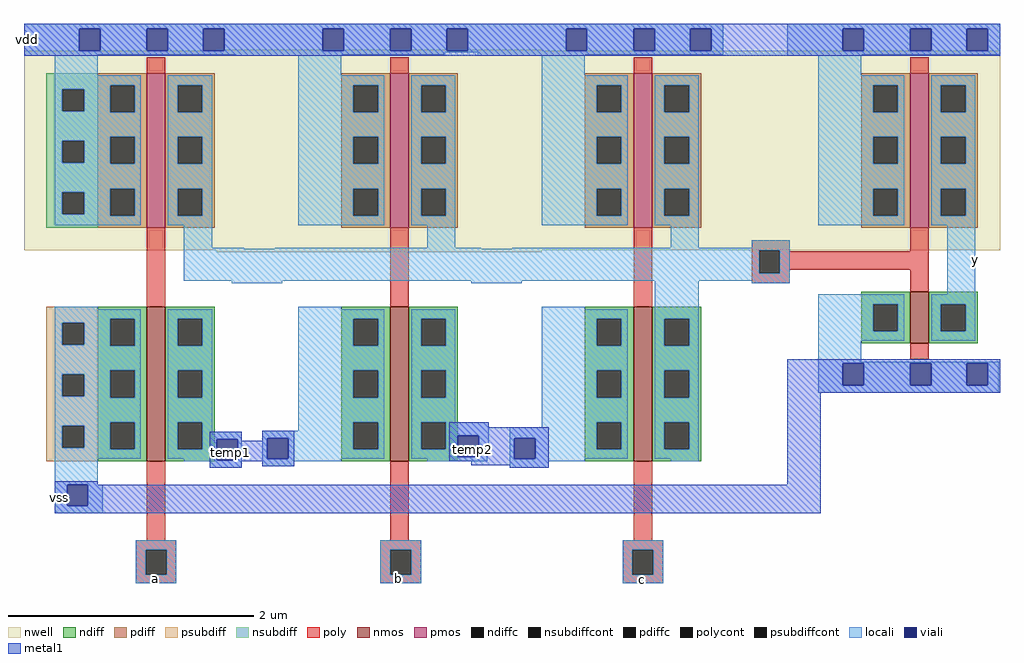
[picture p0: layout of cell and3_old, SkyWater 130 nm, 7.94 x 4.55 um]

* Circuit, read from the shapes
.subckt and3_old a b c y vdd vss temp1 temp2
XM1 temp1 a vss vss sky130_fd_pr__nfet_01v8 w=1.26 l=0.15
XM2 temp2 b temp1 vss sky130_fd_pr__nfet_01v8 w=1.26 l=0.15
XM3 n1 c temp2 vss sky130_fd_pr__nfet_01v8 w=1.26 l=0.15
XM4 y n1 vss vss sky130_fd_pr__nfet_01v8 w=0.42 l=0.15
XM5 n1 a vdd vdd sky130_fd_pr__pfet_01v8 w=1.26 l=0.15
XM6 n1 b vdd vdd sky130_fd_pr__pfet_01v8 w=1.26 l=0.15
XM7 n1 c vdd vdd sky130_fd_pr__pfet_01v8 w=1.26 l=0.15
XM8 y n1 vdd vdd sky130_fd_pr__pfet_01v8 w=1.26 l=0.15
.ends

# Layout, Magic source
magic
tech sky130A
<< nwell >>
rect -564 238 -300 239
rect -721 76 73 238
rect -564 74 -300 76
<< nmos >>
rect -621 -96 -606 30
rect -423 -96 -408 30
rect -225 -96 -210 30
rect 0 0 15 42
<< pmos >>
rect -621 94 -606 220
rect -423 94 -408 220
rect -225 94 -210 220
rect 0 94 15 220
<< ndiff >>
rect -40 32 0 42
rect -661 20 -621 30
rect -661 -2 -651 20
rect -631 -2 -621 20
rect -661 -22 -621 -2
rect -661 -44 -651 -22
rect -631 -44 -621 -22
rect -661 -64 -621 -44
rect -661 -86 -651 -64
rect -631 -86 -621 -64
rect -661 -96 -621 -86
rect -606 20 -566 30
rect -606 -2 -596 20
rect -576 -2 -566 20
rect -606 -22 -566 -2
rect -606 -44 -596 -22
rect -576 -44 -566 -22
rect -606 -64 -566 -44
rect -606 -86 -596 -64
rect -576 -86 -566 -64
rect -606 -96 -566 -86
rect -463 20 -423 30
rect -463 -2 -453 20
rect -433 -2 -423 20
rect -463 -22 -423 -2
rect -463 -44 -453 -22
rect -433 -44 -423 -22
rect -463 -64 -423 -44
rect -463 -86 -453 -64
rect -433 -86 -423 -64
rect -463 -96 -423 -86
rect -408 20 -368 30
rect -408 -2 -398 20
rect -378 -2 -368 20
rect -408 -22 -368 -2
rect -408 -44 -398 -22
rect -378 -44 -368 -22
rect -408 -64 -368 -44
rect -408 -86 -398 -64
rect -378 -86 -368 -64
rect -408 -96 -368 -86
rect -265 20 -225 30
rect -265 -2 -255 20
rect -235 -2 -225 20
rect -265 -22 -225 -2
rect -265 -44 -255 -22
rect -235 -44 -225 -22
rect -265 -64 -225 -44
rect -265 -86 -255 -64
rect -235 -86 -225 -64
rect -265 -96 -225 -86
rect -210 20 -170 30
rect -210 -2 -200 20
rect -180 -2 -170 20
rect -40 10 -30 32
rect -10 10 0 32
rect -40 0 0 10
rect 15 32 55 42
rect 15 10 25 32
rect 45 10 55 32
rect 15 0 55 10
rect -210 -22 -170 -2
rect -210 -44 -200 -22
rect -180 -44 -170 -22
rect -210 -64 -170 -44
rect -210 -86 -200 -64
rect -180 -86 -170 -64
rect -210 -96 -170 -86
<< pdiff >>
rect -661 210 -621 220
rect -661 188 -651 210
rect -631 188 -621 210
rect -661 168 -621 188
rect -661 146 -651 168
rect -631 146 -621 168
rect -661 126 -621 146
rect -661 104 -651 126
rect -631 104 -621 126
rect -661 94 -621 104
rect -606 210 -566 220
rect -606 188 -596 210
rect -576 188 -566 210
rect -606 168 -566 188
rect -606 146 -596 168
rect -576 146 -566 168
rect -606 126 -566 146
rect -606 104 -596 126
rect -576 104 -566 126
rect -606 94 -566 104
rect -463 210 -423 220
rect -463 188 -453 210
rect -433 188 -423 210
rect -463 168 -423 188
rect -463 146 -453 168
rect -433 146 -423 168
rect -463 126 -423 146
rect -463 104 -453 126
rect -433 104 -423 126
rect -463 94 -423 104
rect -408 210 -368 220
rect -408 188 -398 210
rect -378 188 -368 210
rect -408 168 -368 188
rect -408 146 -398 168
rect -378 146 -368 168
rect -408 126 -368 146
rect -408 104 -398 126
rect -378 104 -368 126
rect -408 94 -368 104
rect -265 210 -225 220
rect -265 188 -255 210
rect -235 188 -225 210
rect -265 168 -225 188
rect -265 146 -255 168
rect -235 146 -225 168
rect -265 126 -225 146
rect -265 104 -255 126
rect -235 104 -225 126
rect -265 94 -225 104
rect -210 210 -170 220
rect -210 188 -200 210
rect -180 188 -170 210
rect -210 168 -170 188
rect -210 146 -200 168
rect -180 146 -170 168
rect -210 126 -170 146
rect -210 104 -200 126
rect -180 104 -170 126
rect -210 94 -170 104
rect -40 210 0 220
rect -40 188 -30 210
rect -10 188 0 210
rect -40 168 0 188
rect -40 146 -30 168
rect -10 146 0 168
rect -40 126 0 146
rect -40 104 -30 126
rect -10 104 0 126
rect -40 94 0 104
rect 15 210 55 220
rect 15 188 25 210
rect 45 188 55 210
rect 15 168 55 188
rect 15 146 25 168
rect 45 146 55 168
rect 15 126 55 146
rect 15 104 25 126
rect 45 104 55 126
rect 15 94 55 104
<< ndiffc >>
rect -651 -2 -631 20
rect -651 -44 -631 -22
rect -651 -86 -631 -64
rect -596 -2 -576 20
rect -596 -44 -576 -22
rect -596 -86 -576 -64
rect -453 -2 -433 20
rect -453 -44 -433 -22
rect -453 -86 -433 -64
rect -398 -2 -378 20
rect -398 -44 -378 -22
rect -398 -86 -378 -64
rect -255 -2 -235 20
rect -255 -44 -235 -22
rect -255 -86 -235 -64
rect -200 -2 -180 20
rect -30 10 -10 32
rect 25 10 45 32
rect -200 -44 -180 -22
rect -200 -86 -180 -64
<< pdiffc >>
rect -651 188 -631 210
rect -651 146 -631 168
rect -651 104 -631 126
rect -596 188 -576 210
rect -596 146 -576 168
rect -596 104 -576 126
rect -453 188 -433 210
rect -453 146 -433 168
rect -453 104 -433 126
rect -398 188 -378 210
rect -398 146 -378 168
rect -398 104 -378 126
rect -255 188 -235 210
rect -255 146 -235 168
rect -255 104 -235 126
rect -200 188 -180 210
rect -200 146 -180 168
rect -200 104 -180 126
rect -30 188 -10 210
rect -30 146 -10 168
rect -30 104 -10 126
rect 25 188 45 210
rect 25 146 45 168
rect 25 104 45 126
<< psubdiff >>
rect -703 17 -661 30
rect -703 -1 -690 17
rect -672 -1 -661 17
rect -703 -25 -661 -1
rect -703 -43 -690 -25
rect -672 -43 -661 -25
rect -703 -67 -661 -43
rect -703 -85 -690 -67
rect -672 -85 -661 -67
rect -703 -96 -661 -85
<< nsubdiff >>
rect -703 207 -661 220
rect -703 189 -690 207
rect -672 189 -661 207
rect -703 165 -661 189
rect -703 147 -690 165
rect -672 147 -661 165
rect -703 123 -661 147
rect -703 105 -690 123
rect -672 105 -661 123
rect -703 94 -661 105
<< psubdiffcont >>
rect -690 -1 -672 17
rect -690 -43 -672 -25
rect -690 -85 -672 -67
<< nsubdiffcont >>
rect -690 189 -672 207
rect -690 147 -672 165
rect -690 105 -672 123
<< poly >>
rect -621 220 -606 233
rect -423 220 -408 233
rect -225 220 -210 233
rect 0 220 15 233
rect -621 30 -606 94
rect -423 30 -408 94
rect -225 30 -210 94
rect -129 76 -98 84
rect -129 57 -123 76
rect -106 75 -98 76
rect 0 75 15 94
rect -106 60 15 75
rect -106 57 -98 60
rect -129 49 -98 57
rect 0 42 15 60
rect 0 -13 15 0
rect -621 -160 -606 -96
rect -423 -160 -408 -96
rect -225 -160 -210 -96
rect -630 -168 -597 -160
rect -630 -188 -622 -168
rect -605 -188 -597 -168
rect -630 -195 -597 -188
rect -431 -168 -398 -160
rect -431 -188 -423 -168
rect -406 -188 -398 -168
rect -431 -195 -398 -188
rect -234 -168 -201 -160
rect -234 -188 -226 -168
rect -209 -188 -201 -168
rect -234 -195 -201 -188
<< polycont >>
rect -123 57 -106 76
rect -622 -188 -605 -168
rect -423 -188 -406 -168
rect -226 -188 -209 -168
<< locali >>
rect -721 256 -152 260
rect -721 238 -676 256
rect -659 238 -621 256
rect -604 238 -575 256
rect -558 238 -478 256
rect -461 238 -423 256
rect -406 238 -377 256
rect -360 238 -280 256
rect -263 238 -225 256
rect -208 238 -179 256
rect -162 238 -152 256
rect -721 237 -152 238
rect -721 235 -379 237
rect -352 235 -152 237
rect -100 256 73 260
rect -100 238 -55 256
rect -38 238 0 256
rect 17 238 46 256
rect 63 238 73 256
rect -100 235 73 238
rect -721 234 -661 235
rect -548 234 -463 235
rect -352 234 -265 235
rect -100 234 -40 235
rect -696 218 -661 234
rect -498 218 -463 234
rect -300 218 -265 234
rect -75 218 -40 234
rect -696 210 -626 218
rect -696 207 -651 210
rect -696 189 -690 207
rect -672 189 -651 207
rect -696 188 -651 189
rect -631 188 -626 210
rect -696 168 -626 188
rect -696 165 -651 168
rect -696 147 -690 165
rect -672 147 -651 165
rect -696 146 -651 147
rect -631 146 -626 168
rect -696 126 -626 146
rect -696 123 -651 126
rect -696 105 -690 123
rect -672 105 -651 123
rect -696 104 -651 105
rect -631 104 -626 126
rect -696 96 -626 104
rect -604 210 -568 218
rect -604 188 -596 210
rect -576 188 -568 210
rect -604 168 -568 188
rect -604 146 -596 168
rect -576 146 -568 168
rect -604 126 -568 146
rect -604 104 -596 126
rect -576 104 -568 126
rect -604 96 -568 104
rect -498 210 -428 218
rect -498 188 -453 210
rect -433 188 -428 210
rect -498 168 -428 188
rect -498 146 -453 168
rect -433 146 -428 168
rect -498 126 -428 146
rect -498 104 -453 126
rect -433 104 -428 126
rect -498 96 -428 104
rect -406 210 -370 218
rect -406 188 -398 210
rect -378 188 -370 210
rect -406 168 -370 188
rect -406 146 -398 168
rect -378 146 -370 168
rect -406 126 -370 146
rect -406 104 -398 126
rect -378 104 -370 126
rect -406 96 -370 104
rect -300 210 -230 218
rect -300 188 -255 210
rect -235 188 -230 210
rect -300 168 -230 188
rect -300 146 -255 168
rect -235 146 -230 168
rect -300 126 -230 146
rect -300 104 -255 126
rect -235 104 -230 126
rect -300 96 -230 104
rect -208 210 -172 218
rect -208 188 -200 210
rect -180 188 -172 210
rect -208 168 -172 188
rect -208 146 -200 168
rect -180 146 -172 168
rect -208 126 -172 146
rect -208 104 -200 126
rect -180 104 -172 126
rect -208 96 -172 104
rect -75 210 -5 218
rect -75 188 -30 210
rect -10 188 -5 210
rect -75 168 -5 188
rect -75 146 -30 168
rect -10 146 -5 168
rect -75 126 -5 146
rect -75 104 -30 126
rect -10 104 -5 126
rect -75 96 -5 104
rect 17 210 53 218
rect 17 188 25 210
rect 45 188 53 210
rect 17 168 53 188
rect 17 146 25 168
rect 45 146 53 168
rect 17 126 53 146
rect 17 104 25 126
rect 45 104 53 126
rect 17 96 53 104
rect -591 78 -568 96
rect -393 78 -370 96
rect -195 78 -172 96
rect -129 78 -98 84
rect -591 77 -542 78
rect -517 77 -349 78
rect -324 77 -98 78
rect -591 76 -98 77
rect -591 57 -123 76
rect -106 57 -98 76
rect -591 51 -98 57
rect -552 49 -511 51
rect -357 49 -316 51
rect -696 28 -661 30
rect -498 28 -463 30
rect -300 28 -265 30
rect -696 20 -626 28
rect -696 17 -651 20
rect -696 -1 -690 17
rect -672 -1 -651 17
rect -696 -2 -651 -1
rect -631 -2 -626 20
rect -696 -22 -626 -2
rect -696 -25 -651 -22
rect -696 -43 -690 -25
rect -672 -43 -651 -25
rect -696 -44 -651 -43
rect -631 -44 -626 -22
rect -696 -64 -626 -44
rect -696 -67 -651 -64
rect -696 -85 -690 -67
rect -672 -85 -651 -67
rect -696 -86 -651 -85
rect -631 -86 -626 -64
rect -696 -94 -626 -86
rect -604 20 -568 28
rect -604 -2 -596 20
rect -576 -2 -568 20
rect -604 -22 -568 -2
rect -604 -44 -596 -22
rect -576 -44 -568 -22
rect -604 -64 -568 -44
rect -604 -86 -596 -64
rect -576 -72 -568 -64
rect -498 20 -428 28
rect -498 -2 -453 20
rect -433 -2 -428 20
rect -498 -22 -428 -2
rect -498 -44 -453 -22
rect -433 -44 -428 -22
rect -498 -64 -428 -44
rect -498 -71 -453 -64
rect -576 -78 -544 -72
rect -576 -86 -564 -78
rect -604 -94 -564 -86
rect -696 -115 -661 -94
rect -591 -95 -564 -94
rect -547 -95 -544 -78
rect -591 -96 -544 -95
rect -570 -101 -544 -96
rect -527 -77 -453 -71
rect -527 -94 -523 -77
rect -506 -86 -453 -77
rect -433 -86 -428 -64
rect -506 -94 -428 -86
rect -406 20 -370 28
rect -406 -2 -398 20
rect -378 -2 -370 20
rect -406 -22 -370 -2
rect -406 -44 -398 -22
rect -378 -44 -370 -22
rect -406 -64 -370 -44
rect -300 20 -230 28
rect -300 -2 -255 20
rect -235 -2 -230 20
rect -300 -22 -230 -2
rect -300 -44 -255 -22
rect -235 -44 -230 -22
rect -300 -64 -230 -44
rect -406 -86 -398 -64
rect -378 -75 -343 -64
rect -300 -68 -255 -64
rect -378 -86 -368 -75
rect -406 -92 -368 -86
rect -351 -90 -343 -75
rect -326 -77 -255 -68
rect -351 -92 -344 -90
rect -406 -94 -344 -92
rect -527 -96 -463 -94
rect -393 -96 -344 -94
rect -326 -94 -322 -77
rect -305 -86 -255 -77
rect -235 -86 -230 -64
rect -305 -94 -230 -86
rect -208 20 -172 51
rect -129 49 -98 51
rect 30 40 53 96
rect -208 -2 -200 20
rect -180 -2 -172 20
rect -208 -22 -172 -2
rect -208 -44 -200 -22
rect -180 -44 -172 -22
rect -75 32 -5 40
rect -75 10 -30 32
rect -10 10 -5 32
rect -75 2 -5 10
rect 17 32 53 40
rect 17 10 25 32
rect 45 10 53 32
rect 17 2 53 10
rect -75 -15 -40 2
rect -75 -16 72 -15
rect -75 -34 -55 -16
rect -38 -34 0 -16
rect 17 -34 46 -16
rect 63 -34 72 -16
rect -75 -40 72 -34
rect -208 -64 -172 -44
rect -208 -86 -200 -64
rect -180 -86 -172 -64
rect -208 -94 -172 -86
rect -326 -96 -265 -94
rect -195 -96 -172 -94
rect -527 -100 -501 -96
rect -326 -101 -294 -96
rect -696 -132 -686 -115
rect -669 -132 -657 -115
rect -696 -138 -657 -132
rect -630 -168 -597 -160
rect -630 -188 -622 -168
rect -605 -188 -597 -168
rect -630 -195 -597 -188
rect -431 -168 -398 -160
rect -431 -188 -423 -168
rect -406 -188 -398 -168
rect -431 -195 -398 -188
rect -234 -168 -201 -160
rect -234 -188 -226 -168
rect -209 -188 -201 -168
rect -234 -195 -201 -188
<< viali >>
rect -676 238 -659 256
rect -621 238 -604 256
rect -575 238 -558 256
rect -478 238 -461 256
rect -423 238 -406 256
rect -377 238 -360 256
rect -280 238 -263 256
rect -225 238 -208 256
rect -179 238 -162 256
rect -55 238 -38 256
rect 0 238 17 256
rect 46 238 63 256
rect -564 -95 -547 -78
rect -523 -94 -506 -77
rect -368 -92 -351 -75
rect -322 -94 -305 -77
rect -55 -34 -38 -16
rect 0 -34 17 -16
rect 46 -34 63 -16
rect -686 -132 -669 -115
<< metal1 >>
rect -721 256 73 260
rect -721 238 -676 256
rect -659 238 -621 256
rect -604 238 -575 256
rect -558 238 -478 256
rect -461 238 -423 256
rect -406 238 -377 256
rect -360 238 -280 256
rect -263 238 -225 256
rect -208 238 -179 256
rect -162 238 -55 256
rect -38 238 0 256
rect 17 238 46 256
rect 63 238 73 256
rect -721 234 73 238
rect -100 -16 73 -13
rect -100 -34 -55 -16
rect -38 -34 0 -16
rect 17 -34 46 -16
rect 63 -34 73 -16
rect -100 -40 73 -34
rect -375 -68 -343 -64
rect -570 -78 -544 -72
rect -570 -95 -564 -78
rect -547 -79 -544 -78
rect -527 -77 -501 -71
rect -527 -79 -523 -77
rect -547 -94 -523 -79
rect -506 -94 -501 -77
rect -547 -95 -501 -94
rect -570 -96 -501 -95
rect -375 -75 -294 -68
rect -375 -92 -368 -75
rect -351 -77 -294 -75
rect -351 -92 -322 -77
rect -375 -94 -322 -92
rect -305 -94 -294 -77
rect -375 -96 -294 -94
rect -570 -101 -544 -96
rect -527 -100 -501 -96
rect -357 -99 -294 -96
rect -326 -101 -294 -99
rect -696 -115 -661 -112
rect -100 -115 -73 -40
rect -696 -132 -686 -115
rect -669 -132 -73 -115
rect -696 -138 -73 -132
<< labels >>
rlabel locali 53 68 53 68 1 y
port 4 n
rlabel locali -218 -192 -218 -192 1 c
port 3 n
rlabel locali -614 -191 -614 -191 1 a
port 1 n
rlabel metal1 -718 247 -718 247 3 vdd
port 5 e
rlabel metal1 -692 -125 -692 -125 1 vss
port 6 n
rlabel locali -416 -191 -416 -191 1 b
port 2 n
rlabel viali -553 -89 -553 -89 1 temp1
port 7 n
rlabel viali -356 -86 -356 -86 1 temp2
port 8 n
<< end >>
